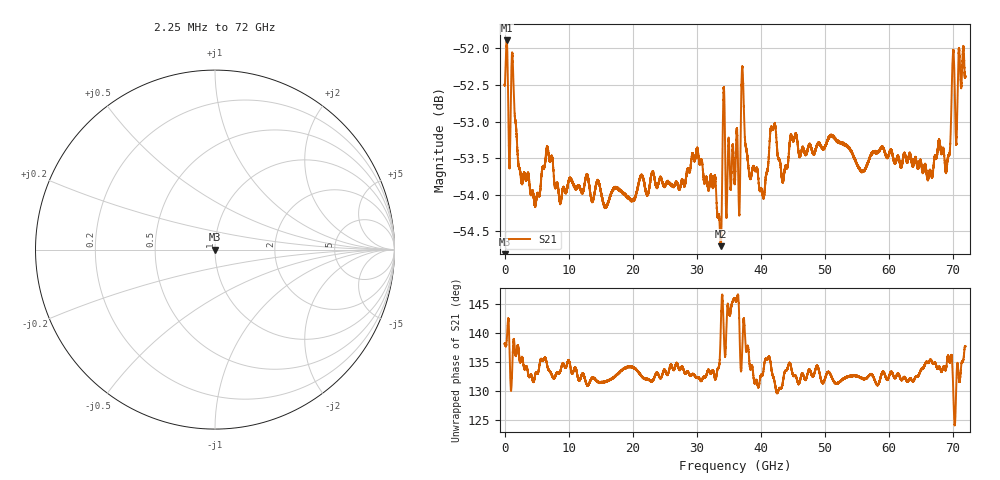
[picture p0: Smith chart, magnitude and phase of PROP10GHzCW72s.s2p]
!Keysight Technologies,N5227A,US51270384,A.10.49.03
!Date: Monday, September 17, 2018 15:26:46
!Correction: S11(Off)
!S21(Off)
!S12(Off)
!S22(Off)
!S2P File: Measurements: S11, S21, S12, S22:CW Time Sweep
!CW Freq: 10000000000 Hz
# s S  RI  R 50
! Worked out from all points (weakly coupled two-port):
!   32000 points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, 2.25 MHz to 72 GHz, reference 50 ohm
!   highest |S21| = -51.89 dB at 324 MHz (marker M1); lowest = -54.7 dB at 33.77 GHz (marker M2)
!   lowest |S11| = - dB at 2.25 MHz (marker M3), VSWR 1.00, Z = 50 + j7.07e-09 ohm
!   |S11| at or under -10 dB: start of sweep to end of sweep
!   S12 and S22 are empty: the file has one direction only
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0.00225  7.07e-11 7.07e-11  -0.00177 0.00159  7.07e-11 7.07e-11  7.07e-11 7.07e-11
0.324  7.07e-11 7.07e-11  -0.00191 0.00168  7.07e-11 7.07e-11  7.07e-11 7.07e-11
2.45925  7.07e-11 7.07e-11  -0.00146 0.00146  7.07e-11 7.07e-11  7.07e-11 7.07e-11
4.5945  7.07e-11 7.07e-11  -0.00132 0.00148  7.07e-11 7.07e-11  7.07e-11 7.07e-11
6.71175  7.07e-11 7.07e-11  -0.0015 0.00154  7.07e-11 7.07e-11  7.07e-11 7.07e-11
12.00375  7.07e-11 7.07e-11  -0.00136 0.00147  7.07e-11 7.07e-11  7.07e-11 7.07e-11
24.003  7.07e-11 7.07e-11  -0.00138 0.00148  7.07e-11 7.07e-11  7.07e-11 7.07e-11
30.06  7.07e-11 7.07e-11  -0.00145 0.00159  7.07e-11 7.07e-11  7.07e-11 7.07e-11
33.768  7.07e-11 7.07e-11  -0.00142 0.00117  7.07e-11 7.07e-11  7.07e-11 7.07e-11
34.24275  7.07e-11 7.07e-11  -0.00182 0.00151  7.07e-11 7.07e-11  7.07e-11 7.07e-11
36.00225  7.07e-11 7.07e-11  -0.00169 0.00115  7.07e-11 7.07e-11  7.07e-11 7.07e-11
36.612  7.07e-11 7.07e-11  -0.00158 0.00114  7.07e-11 7.07e-11  7.07e-11 7.07e-11
37.2375  7.07e-11 7.07e-11  -0.00186 0.00153  7.07e-11 7.07e-11  7.07e-11 7.07e-11
38.21175  7.07e-11 7.07e-11  -0.00148 0.00144  7.07e-11 7.07e-11  7.07e-11 7.07e-11
40.2255  7.07e-11 7.07e-11  -0.00136 0.00148  7.07e-11 7.07e-11  7.07e-11 7.07e-11
41.9175  7.07e-11 7.07e-11  -0.0015 0.00163  7.07e-11 7.07e-11  7.07e-11 7.07e-11
43.461  7.07e-11 7.07e-11  -0.00135 0.00153  7.07e-11 7.07e-11  7.07e-11 7.07e-11
48.0015  7.07e-11 7.07e-11  -0.00145 0.00157  7.07e-11 7.07e-11  7.07e-11 7.07e-11
60.00075  7.07e-11 7.07e-11  -0.00143 0.00157  7.07e-11 7.07e-11  7.07e-11 7.07e-11
69.10425  7.07e-11 7.07e-11  -0.00147 0.00147  7.07e-11 7.07e-11  7.07e-11 7.07e-11
70.04475  7.07e-11 7.07e-11  -0.00167 0.00185  7.07e-11 7.07e-11  7.07e-11 7.07e-11
72  7.07e-11 7.07e-11  -0.00178 0.00162  7.07e-11 7.07e-11  7.07e-11 7.07e-11
